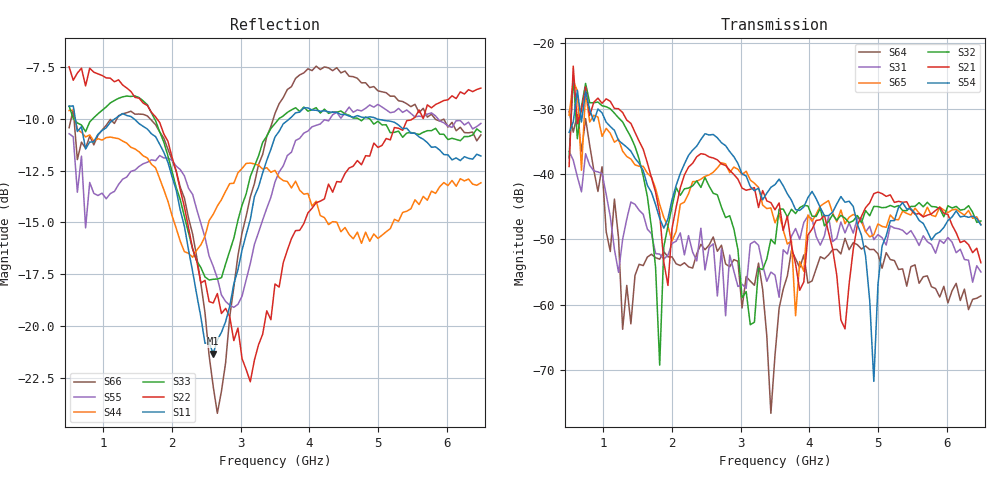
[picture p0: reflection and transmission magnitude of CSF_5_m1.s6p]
!Keysight Technologies,M9804A,MY58100912,A.14.10.03
!Date: Thursday, April 27, 2023 10:28:33
!Correction: S11(C  6-Port  )
!S12(C  6-Port  )
!S13(C  6-Port  )
!S14(C  6-Port  )
!S15(C  6-Port  )
!S16(C  6-Port  )
!S21(C  6-Port  )
!S22(C  6-Port  )
!S23(C  6-Port  )
!S24(C  6-Port  )
!S25(C  6-Port  )
!S26(C  6-Port  )
!S31(C  6-Port  )
!S32(C  6-Port  )
!S33(C  6-Port  )
!S34(C  6-Port  )
!S35(C  6-Port  )
!S36(C  6-Port  )
!S41(C  6-Port  )
!S42(C  6-Port  )
!S43(C  6-Port  )
!S44(C  6-Port  )
!S45(C  6-Port  )
!S46(C  6-Port  )
!S51(C  6-Port  )
!S52(C  6-Port  )
!S53(C  6-Port  )
!S54(C  6-Port  )
!S55(C  6-Port  )
!S56(C  6-Port  )
!S61(C  6-Port  )
!S62(C  6-Port  )
!S63(C  6-Port  )
!S64(C  6-Port  )
!S65(C  6-Port  )
!S66(C  6-Port  )
!S6P File: Measurement: :
# Hz S  RI  R 50
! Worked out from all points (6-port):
!   101 points, 500 MHz to 6.5 GHz, reference 50 ohm
!   strongest paths, dB at 500 MHz, 2 GHz, 3.5 GHz, 5 GHz, 6.5 GHz:
!     S54: -33.6, -43.9, -41.6, -56.9, -47.8
!     S21: -38.8, -48.3, -45.5, -42.7, -53.6
!     S32: -37.5, -44.9, -50.7, -45.0, -47.2
!     S65: -31.0, -50.2, -47.4, -47.6, -47.7
!     S31: -36.5, -50.6, -55.4, -49.3, -55.0
!     S64: -30.4, -52.7, -67.7, -52.2, -58.6
!   lowest |S11| = -21.3 dB at 2.6 GHz (marker M1), VSWR 1.19, Z = 42.4 + j2.18 ohm
!   |S11| at or under -10 dB: 590.3 MHz to 1.167 GHz (576.6 MHz wide, 65.6 % of centre); 1.444 GHz to 3.711 GHz (2.267 GHz wide, 87.9 % of centre); 4.984 GHz to end of sweep
